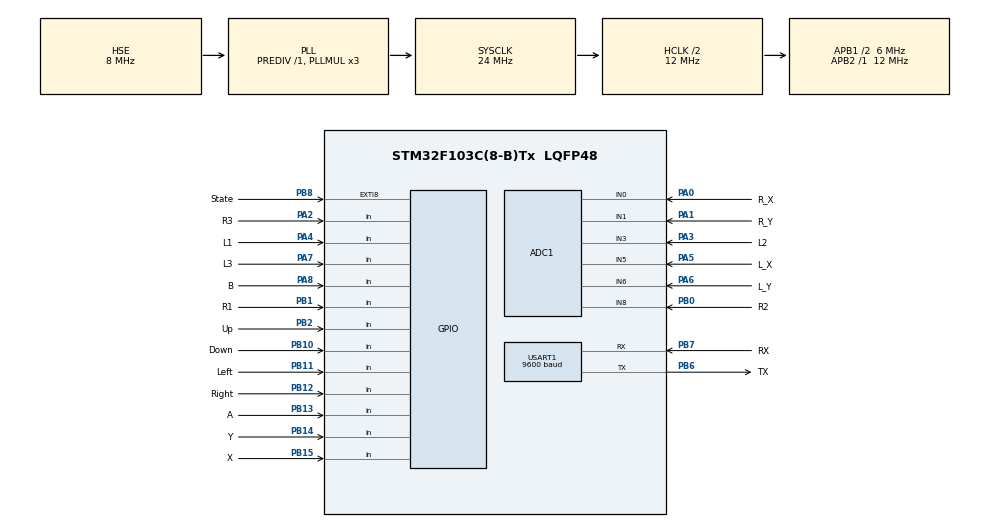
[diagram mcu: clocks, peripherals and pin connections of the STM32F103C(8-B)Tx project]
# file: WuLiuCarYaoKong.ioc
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ADC1.Channel-2\#ChannelRegularConversion=ADC_CHANNEL_5
ADC1.Channel-3\#ChannelRegularConversion=ADC_CHANNEL_6
ADC1.Channel-4\#ChannelRegularConversion=ADC_CHANNEL_3
ADC1.Channel-5\#ChannelRegularConversion=ADC_CHANNEL_0
ADC1.Channel-6\#ChannelRegularConversion=ADC_CHANNEL_1
ADC1.Channel-7\#ChannelRegularConversion=ADC_CHANNEL_8
ADC1.ContinuousConvMode=ENABLE
ADC1.DiscontinuousConvMode=DISABLE
ADC1.NbrOfConversion=6
ADC1.NbrOfConversionFlag=1
ADC1.Rank-2\#ChannelRegularConversion=1
ADC1.Rank-3\#ChannelRegularConversion=2
ADC1.Rank-4\#ChannelRegularConversion=3
ADC1.Rank-5\#ChannelRegularConversion=4
ADC1.Rank-6\#ChannelRegularConversion=5
ADC1.Rank-7\#ChannelRegularConversion=6
ADC1.SamplingTime-2\#ChannelRegularConversion=ADC_SAMPLETIME_239CYCLES_5
ADC1.SamplingTime-3\#ChannelRegularConversion=ADC_SAMPLETIME_239CYCLES_5
ADC1.SamplingTime-4\#ChannelRegularConversion=ADC_SAMPLETIME_239CYCLES_5
ADC1.SamplingTime-5\#ChannelRegularConversion=ADC_SAMPLETIME_239CYCLES_5
ADC1.SamplingTime-6\#ChannelRegularConversion=ADC_SAMPLETIME_239CYCLES_5
ADC1.SamplingTime-7\#ChannelRegularConversion=ADC_SAMPLETIME_239CYCLES_5
ADC1.master=1
Dma.ADC1.0.Direction=DMA_PERIPH_TO_MEMORY
Dma.ADC1.0.Instance=DMA1_Channel1
Dma.ADC1.0.MemDataAlignment=DMA_MDATAALIGN_HALFWORD
Dma.ADC1.0.MemInc=DMA_MINC_ENABLE
Dma.ADC1.0.Mode=DMA_CIRCULAR
Dma.ADC1.0.PeriphDataAlignment=DMA_PDATAALIGN_HALFWORD
Dma.ADC1.0.PeriphInc=DMA_PINC_DISABLE
Dma.ADC1.0.Priority=DMA_PRIORITY_LOW
Dma.Request0=ADC1
Mcu.Family=STM32F1
Mcu.Name=STM32F103C(8-B)Tx
Mcu.Package=LQFP48
NVIC.DMA1_Channel1_IRQn=true\:2\:0\:true\:false\:true\:false\:true\:true
NVIC.EXTI9_5_IRQn=true\:1\:0\:true\:false\:true\:true\:true\:true
NVIC.PriorityGroup=NVIC_PRIORITYGROUP_4
NVIC.TIM1_UP_IRQn=true\:1\:0\:true\:false\:true\:true\:true\:true
PA0-WKUP.GPIO_Label=R_X
PA0-WKUP.Signal=ADCx_IN0
PA1.GPIO_Label=R_Y
PA1.Signal=ADCx_IN1
PA13.Mode=Serial_Wire
PA13.Signal=SYS_JTMS-SWDIO
PA14.Mode=Serial_Wire
PA14.Signal=SYS_JTCK-SWCLK
PA2.GPIO_Label=R3
PA2.GPIO_PuPd=GPIO_PULLUP
PA2.Signal=GPIO_Input
PA3.GPIO_Label=L2
PA3.Signal=ADCx_IN3
PA4.GPIO_Label=L1
PA4.GPIO_PuPd=GPIO_PULLUP
PA4.Signal=GPIO_Input
PA5.GPIO_Label=L_X
PA5.Signal=ADCx_IN5
PA6.GPIO_Label=L_Y
PA6.Signal=ADCx_IN6
PA7.GPIO_Label=L3
PA7.GPIO_PuPd=GPIO_PULLUP
PA7.Signal=GPIO_Input
PA8.GPIO_Label=B
PA8.GPIO_PuPd=GPIO_PULLUP
PA8.Signal=GPIO_Input
PB0.GPIO_Label=R2
PB0.Signal=ADCx_IN8
PB1.GPIO_Label=R1
PB1.GPIO_PuPd=GPIO_PULLUP
PB1.Signal=GPIO_Input
PB10.GPIO_Label=Down
PB10.GPIO_PuPd=GPIO_PULLUP
PB10.Signal=GPIO_Input
PB11.GPIO_Label=Left
PB11.GPIO_PuPd=GPIO_PULLUP
PB11.Signal=GPIO_Input
PB12.GPIO_Label=Right
PB12.GPIO_PuPd=GPIO_PULLUP
PB12.Signal=GPIO_Input
PB13.GPIO_Label=A
PB13.GPIO_PuPd=GPIO_PULLUP
PB13.Signal=GPIO_Input
PB14.GPIO_Label=Y
PB14.GPIO_PuPd=GPIO_PULLUP
PB14.Signal=GPIO_Input
PB15.GPIO_Label=X
PB15.GPIO_PuPd=GPIO_PULLUP
PB15.Signal=GPIO_Input
PB2.GPIO_Label=Up
PB2.GPIO_PuPd=GPIO_PULLUP
PB2.Signal=GPIO_Input
PB6.GPIO_Label=TX
PB6.Mode=Asynchronous
PB6.Signal=USART1_TX
PB7.GPIO_Label=RX
PB7.Mode=Asynchronous
PB7.Signal=USART1_RX
PB8.GPIO_Label=State
PB8.GPIO_ModeDefaultEXTI=GPIO_MODE_IT_RISING_FALLING
PB8.GPIO_PuPd=GPIO_PULLUP
PB8.Signal=GPXTI8
PD0-OSC_IN.Mode=HSE-External-Oscillator
PD0-OSC_IN.Signal=RCC_OSC_IN
PD1-OSC_OUT.Mode=HSE-External-Oscillator
PD1-OSC_OUT.Signal=RCC_OSC_OUT
ProjectManager.HeapSize=0x200
ProjectManager.StackSize=0x400
ProjectManager.TargetToolchain=MDK-ARM V5.32
RCC.ADCPresc=RCC_ADCPCLK2_DIV6
RCC.AHBCLKDivider=RCC_SYSCLK_DIV2
RCC.AHBFreq_Value=12000000
RCC.APB1CLKDivider=RCC_HCLK_DIV2
RCC.APB1Freq_Value=6000000
RCC.APB1TimFreq_Value=12000000
RCC.APB2Freq_Value=12000000
RCC.APB2TimFreq_Value=12000000
RCC.HCLKFreq_Value=12000000
RCC.PLLMUL=RCC_PLL_MUL3
RCC.PLLSourceVirtual=RCC_PLLSOURCE_HSE
RCC.SYSCLKFreq_VALUE=24000000
RCC.SYSCLKSource=RCC_SYSCLKSOURCE_PLLCLK
RCC.USBFreq_Value=24000000
SH.ADCx_IN0.0=ADC1_IN0,IN0
SH.ADCx_IN0.1=ADC2_IN0
SH.ADCx_IN1.0=ADC1_IN1,IN1
SH.ADCx_IN1.1=ADC2_IN1
SH.ADCx_IN3.0=ADC1_IN3,IN3
SH.ADCx_IN3.1=ADC2_IN3
SH.ADCx_IN5.0=ADC1_IN5,IN5
SH.ADCx_IN5.1=ADC2_IN5
SH.ADCx_IN6.0=ADC1_IN6,IN6
SH.ADCx_IN6.1=ADC2_IN6
SH.ADCx_IN8.0=ADC1_IN8,IN8
SH.ADCx_IN8.1=ADC2_IN8
TIM1.Period=10-1
TIM1.Prescaler=1200-1
USART1.BaudRate=9600
USART1.VirtualMode=VM_ASYNC
VP_TIM1_VS_ClockSourceINT.Mode=Internal
board=custom

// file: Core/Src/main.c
/* USER CODE BEGIN Header */
/**
  ******************************************************************************
  * @file           : main.c
  * @brief          : Main program body
  ******************************************************************************
  * @attention
  *
  * <h2><center>&copy; Copyright (c) 2022 STMicroelectronics.
  * All rights reserved.</center></h2>
  *
  * This software component is licensed by ST under BSD 3-Clause license,
  * the "License"; You may not use this file except in compliance with the
  * License. You may obtain a copy of the License at:
  *                        opensource.org/licenses/BSD-3-Clause
  *
  ******************************************************************************
  */
/* USER CODE END Header */
#include "main.h"
#include "adc.h"
#include "dma.h"
#include "tim.h"
#include "usart.h"
#include "gpio.h"

/* USER CODE BEGIN Includes */
#include "math.h"
#include "string.h"
/* USER CODE END Includes */

/* USER CODE BEGIN PD */
#define avg_num 10
/* USER CODE END PD */

/* USER CODE BEGIN PV */
typedef struct{
	uint8_t head;
	int16_t digital_data;/*L_3;L_1;R_3;R_1;up;down;left;right;A;B;X;Y;*/
	int16_t L_X;
	int16_t L_Y;
	int16_t L_2;
	int16_t R_X;
	int16_t R_Y;
	int16_t R_2;
	int16_t check;/*如果值最终为0，说明没有按键按*/
}key_;

volatile uint16_t adc[6]={0};
int16_t adc_data[6]={0};
int16_t adc_deviation[6]={0};

GPIO_TypeDef* GPIO_Port[]={L3_GPIO_Port,L1_GPIO_Port,R3_GPIO_Port,R1_GPIO_Port,Up_GPIO_Port,Down_GPIO_Port,Left_GPIO_Port,Right_GPIO_Port,A_GPIO_Port,B_GPIO_Port,X_GPIO_Port,Y_GPIO_Port};
uint16_t	GPIO_Pin[]={L3_Pin,L1_Pin,R3_Pin,R1_Pin,Up_Pin,Down_Pin,Left_Pin,Right_Pin,A_Pin,B_Pin,X_Pin,Y_Pin};
uint16_t BLE_State;
key_ key={0x66,0,0,0,0,0,0,0,0};
key_ key_last={0x66,0,0,0,0,0,0,0,0};
uint8_t time_send0=10;
uint8_t sign_send0=1;
/* USER CODE END PV */

void SystemClock_Config(void);

/* USER CODE BEGIN 0 */
//uint16_t Get_adc()
//{
//	HAL_ADC_Start(&hadc1);
//	HAL_ADC_PollForConversion(&hadc1,1000);
//	if(HAL_IS_BIT_SET(HAL_ADC_GetState(&hadc1),HAL_ADC_STATE_REG_EOC))
//	{
//	 return HAL_ADC_GetValue(&hadc1);
//	}
//	return 0;
//}

void adc_init(int16_t adc_deviation[])
{
	uint32_t adcData_sum[6]={0};
	for(int i=0;i<avg_num;i++)
	{
		for(int j=0;j<6;j++)
		{
			adcData_sum[j]+=adc[j];
		}
	}
	for(int i=0;i<6;i++)
	{
		adcData_sum[i]/=avg_num;
		adc_deviation[i]=2048-adcData_sum[i];
	}
}

void key_test()
{
	for(uint8_t i=0;i<6;i++)
	{
		adc_data[i]=adc[i]-2048+adc_deviation[i];
		if(adc_data[i]>-20&&adc_data[i]<20)	adc_data[i]=0;
	}

	adc_data[1]*=-1;
	adc_data[4]*=-1;
	memcpy(&key.L_X,adc_data,12);
	for(int i=0;i<12;i++)
	{
		if(HAL_GPIO_ReadPin(GPIO_Port[i],GPIO_Pin[i])==GPIO_PIN_RESET)
		{
			key.digital_data|=0x01<<i;
		}
		else
		{
			key.digital_data&=~(0x01<<i);
		}
	}

	if(key.digital_data==0x000A)//按下L1、R1
	{
		adc_init(adc_deviation);
		return;
	}

	key.check=0;
	for(int i=0;i<7;i++)
	{
		key.check^=*(&key.digital_data+i);
	}

	if(memcmp(&key,&key_last,18)!=0)
	{
		uint8_t data=0;
		do
		{
			HAL_UART_Transmit(&huart1,(uint8_t*)&key,18,80);
			HAL_UART_Receive(&huart1,&data,1,80);
		}while(data!=0x88);
	}
	memcpy(&key_last,&key,18);
}

void SystemInit_Stop(void)
{
	HAL_Init();
	SystemClock_Config();
	MX_GPIO_Init();
  MX_ADC1_Init();
  MX_USART1_UART_Init();
  MX_TIM1_Init();
	HAL_ADCEx_Calibration_Start(&hadc1);
	HAL_ADC_Start_DMA(&hadc1,(uint32_t*)adc,6);
	HAL_Delay(100);
	adc_init(adc_deviation);
	HAL_TIM_Base_Start_IT(&htim1);
}

void HAL_GPIO_EXTI_Callback(uint16_t GPIO_Pin)
{
	if(GPIO_Pin==State_Pin)
	{
		if(HAL_GPIO_ReadPin(State_GPIO_Port,State_Pin)==GPIO_PIN_RESET)
		{
			SystemInit_Stop();
			BLE_State=GPIO_PIN_RESET;
		}
		else if(HAL_GPIO_ReadPin(State_GPIO_Port,State_Pin)==GPIO_PIN_SET)
		{
			BLE_State=GPIO_PIN_SET;
		}
	}
}

void HAL_TIM_PeriodElapsedCallback(TIM_HandleTypeDef *htim)
{
	if(htim==&htim1)
	{
		HAL_ResumeTick();
		key_test();
	}
}
/* USER CODE END 0 */

int main(void)
{

  /* MCU Configuration--------------------------------------------------------*/

  /* Reset of all peripherals, Initializes the Flash interface and the Systick. */
  HAL_Init();

  /* Configure the system clock */
  SystemClock_Config();

  /* Initialize all configured peripherals */
  MX_GPIO_Init();
  MX_DMA_Init();
  MX_ADC1_Init();
  MX_USART1_UART_Init();
  MX_TIM1_Init();
  /* USER CODE BEGIN 2 */
	/////////////////////////////////////    ADC1   ///////////////////////////////////
	HAL_Delay(100);
	HAL_ADCEx_Calibration_Start(&hadc1);
	HAL_ADC_Start_DMA(&hadc1,(uint32_t*)adc,6);
	HAL_Delay(100);
	adc_init(adc_deviation);
	/////////////////////////////////////    TIM1   ///////////////////////////////////
	HAL_TIM_Base_Start_IT(&htim1);
	///////////////////////////////////// BLE_State ///////////////////////////////////
	BLE_State=HAL_GPIO_ReadPin(State_GPIO_Port,State_Pin);

	char data[]="AT+UART=9600";

  /* USER CODE END 2 */

  /* Infinite loop */
  /* USER CODE BEGIN WHILE */
  while (1)
  {
		HAL_SuspendTick();
		if(BLE_State==GPIO_PIN_SET)
		{
			HAL_ADC_Stop_DMA(&hadc1);
			HAL_TIM_Base_Stop_IT(&htim1);
			HAL_PWR_EnterSTOPMode(PWR_LOWPOWERREGULATOR_ON,PWR_STOPENTRY_WFI);
		}
		else if(BLE_State==GPIO_PIN_RESET)
		{
			HAL_PWR_EnterSLEEPMode(PWR_MAINREGULATOR_ON,PWR_SLEEPENTRY_WFI);
		}
    /* USER CODE END WHILE */

  }
}

void SystemClock_Config(void)
{
  RCC_OscInitTypeDef RCC_OscInitStruct = {0};
  RCC_ClkInitTypeDef RCC_ClkInitStruct = {0};
  RCC_PeriphCLKInitTypeDef PeriphClkInit = {0};

  /** Initializes the RCC Oscillators according to the specified parameters
  * in the RCC_OscInitTypeDef structure.
  */
  RCC_OscInitStruct.OscillatorType = RCC_OSCILLATORTYPE_HSE;
  RCC_OscInitStruct.HSEState = RCC_HSE_ON;
  RCC_OscInitStruct.HSEPredivValue = RCC_HSE_PREDIV_DIV1;
  RCC_OscInitStruct.HSIState = RCC_HSI_ON;
  RCC_OscInitStruct.PLL.PLLState = RCC_PLL_ON;
  RCC_OscInitStruct.PLL.PLLSource = RCC_PLLSOURCE_HSE;
  RCC_OscInitStruct.PLL.PLLMUL = RCC_PLL_MUL3;
  if (HAL_RCC_OscConfig(&RCC_OscInitStruct) != HAL_OK)
  {
    Error_Handler();
  }

  /** Initializes the CPU, AHB and APB buses clocks
  */
  RCC_ClkInitStruct.ClockType = RCC_CLOCKTYPE_HCLK|RCC_CLOCKTYPE_SYSCLK
                              |RCC_CLOCKTYPE_PCLK1|RCC_CLOCKTYPE_PCLK2;
  RCC_ClkInitStruct.SYSCLKSource = RCC_SYSCLKSOURCE_PLLCLK;
  RCC_ClkInitStruct.AHBCLKDivider = RCC_SYSCLK_DIV2;
  RCC_ClkInitStruct.APB1CLKDivider = RCC_HCLK_DIV2;
  RCC_ClkInitStruct.APB2CLKDivider = RCC_HCLK_DIV1;

  if (HAL_RCC_ClockConfig(&RCC_ClkInitStruct, FLASH_LATENCY_0) != HAL_OK)
  {
    Error_Handler();
  }
  PeriphClkInit.PeriphClockSelection = RCC_PERIPHCLK_ADC;
  PeriphClkInit.AdcClockSelection = RCC_ADCPCLK2_DIV6;
  if (HAL_RCCEx_PeriphCLKConfig(&PeriphClkInit) != HAL_OK)
  {
    Error_Handler();
  }
}

void Error_Handler(void)
{
  __disable_irq();
  while (1)
  {
  }
}
